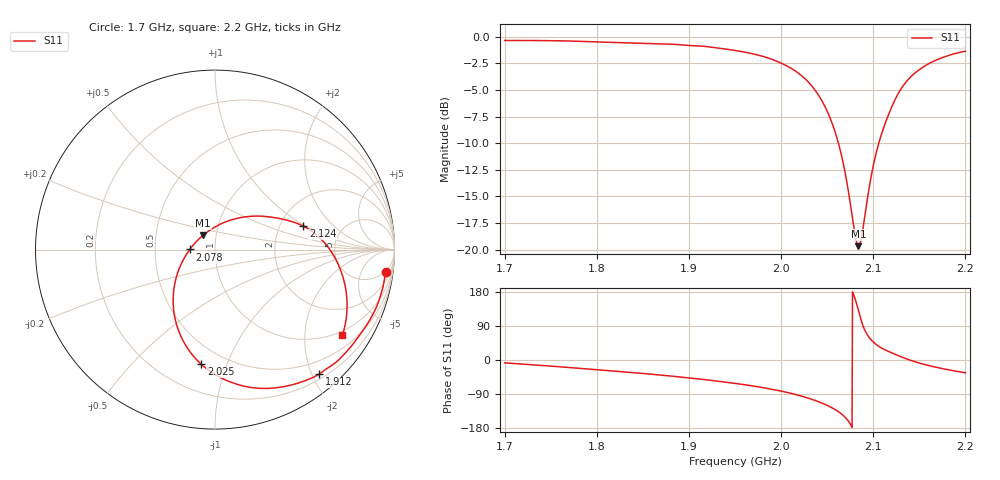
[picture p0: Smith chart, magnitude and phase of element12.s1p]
# Hz S RI R 50
! CMT, CMT808U, 21440046, 21.4.3/4
! Date: 12/1/2025 1:48:44 PM
! Data: Format (Calibration Info)
! Freq	S11:Re/Im(F2)
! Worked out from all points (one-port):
!   1001 points, 1.7 GHz to 2.2 GHz, reference 50 ohm
!   lowest |S11| = -19.7 dB at 2.084 GHz (marker M1), VSWR 1.23, Z = 43.2 + j6.93 ohm
!   |S11| at or under -10 dB: 2.062 GHz to 2.106 GHz (43.79 MHz wide, 2.1 % of centre)
!   S11 on the Smith chart (normalised r, x): 1.7 GHz: 4, -14; 1.912 GHz: 0.28, -2.11; 2.025 GHz: 0.37, -0.81; 2.078 GHz: 0.75, +0.00; 2.124 GHz: 2.69, +0.95; 2.2 GHz: 0.87, -3.07
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1.7e9  0.9517 -0.1247
1.7625e9  0.9071 -0.3017
1.825e9  0.8072 -0.475
1.8875e9  0.6597 -0.639
1.912e9  0.579 -0.6947
1.95e9  0.4091 -0.7583
1.985e9  0.2065 -0.7691
1.9995e9  0.1071 -0.7452
2.0125e9  0.0126 -0.7032
2.0245e9  -0.0768 -0.6386
2.0415e9  -0.1868 -0.4895
2.055e9  -0.2318 -0.3214
2.066e9  -0.2179 -0.1623
2.0705e9  -0.1954 -0.0964
2.075e9  -0.1628 -0.0328
2.0775e9  -0.1403 0.000876
2.081e9  -0.1034 0.0453
2.084e9  -0.0669 0.0793
2.0875e9  -0.0203 0.1137
2.097e9  0.1209 0.1738
2.104e9  0.2263 0.1867
2.1125e9  0.3439 0.1761
2.124e9  0.4923 0.1307
2.1375e9  0.626 0.0188
2.1495e9  0.6915 -0.0937
2.164e9  0.7285 -0.2203
2.18e9  0.735 -0.3445
2.2e9  0.7103 -0.4751
